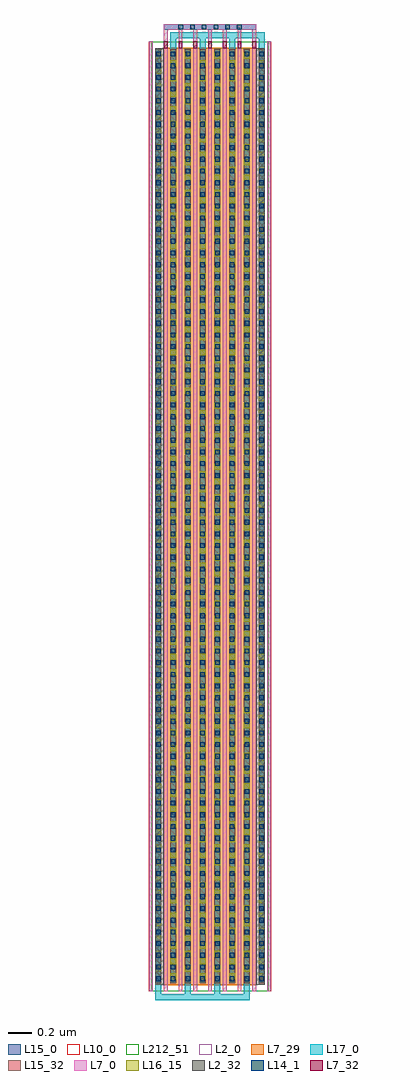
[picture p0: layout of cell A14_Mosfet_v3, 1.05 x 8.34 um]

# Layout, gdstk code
import gdstk
lib = gdstk.Library(unit=1e-6, precision=1e-09)
def R(c, l, rs):  # rectangles x0, y0, x1, y1
    for r in rs: c.add(gdstk.rectangle(r[:2], r[2:], *l))
def A(c, l, x, y, w, h, nx, ny, dx, dy):  # array of equal rectangles
    R(c, l, [(x+i*dx, y+j*dy, x+i*dx+w, y+j*dy+h) for i in range(nx) for j in range(ny)])
L2_0 = (2, 0)
L2_32 = (2, 32)
L7_0 = (7, 0)
L7_29 = (7, 29)
L7_32 = (7, 32)
L10_0 = (10, 0)
L14_1 = (14, 1)
L15_0 = (15, 0)
L15_32 = (15, 32)
L16_15 = (16, 15)
L17_0 = (17, 0)
L212_51 = (212, 51)

a14_mosfet_v3_srf_source = lib.new_cell('A14_Mosfet_v3:SRF_Source_ViaM1M2:SRF_ViaM1M2')
R(a14_mosfet_v3_srf_source, L15_0, [(0,-7.832,0.05,0.082)])
A(a14_mosfet_v3_srf_source, L16_15, 0, -7.8, 0.05, 0.05, 1, 61, 0, 0.13)
R(a14_mosfet_v3_srf_source, L17_0, [(0,-7.832,0.05,0.082)])

c_a14_mosfet_v3_srf_source = lib.new_cell('A14_Mosfet_v3:SRF_Source_ViaM1M2')
c_a14_mosfet_v3_srf_source.add(gdstk.Reference(a14_mosfet_v3_srf_source, (-0.025,3.875)))

a14_mosfet_v3_srf_drain_ = lib.new_cell('A14_Mosfet_v3:SRF_Drain_ViaM1M2:SRF_ViaM1M2')
R(a14_mosfet_v3_srf_drain_, L15_0, [(0,-7.832,0.05,0.082)])
A(a14_mosfet_v3_srf_drain_, L16_15, 0, -7.8, 0.05, 0.05, 1, 61, 0, 0.13)
R(a14_mosfet_v3_srf_drain_, L17_0, [(0,-7.832,0.05,0.082)])

c_a14_mosfet_v3_srf_drain_ = lib.new_cell('A14_Mosfet_v3:SRF_Drain_ViaM1M2')
c_a14_mosfet_v3_srf_drain_.add(gdstk.Reference(a14_mosfet_v3_srf_drain_, (-0.025,3.875)))

a14_mosfet_v3_srf_gate_v = lib.new_cell('A14_Mosfet_v3:SRF_Gate_ViaM0Mx:SRF_ViaM0M1')
R(a14_mosfet_v3_srf_gate_v, L7_0, [(-0.01,-0.004,0.55,0.044)])
A(a14_mosfet_v3_srf_gate_v, L14_1, 0, 0, 0.04, 0.04, 6, 1, 0.1, 0)
R(a14_mosfet_v3_srf_gate_v, L15_0, [(-0.021,-0.005,0.561,0.045)])

c_a14_mosfet_v3_srf_gate_v = lib.new_cell('A14_Mosfet_v3:SRF_Gate_ViaM0Mx')
c_a14_mosfet_v3_srf_gate_v.add(gdstk.Reference(a14_mosfet_v3_srf_gate_v, (-0.27,-0.02)))

a14_mosfet_v3 = lib.new_cell('A14_Mosfet_v3')
R(a14_mosfet_v3, L2_0, [(-0.076,0.057,0.862,8.057)])
R(a14_mosfet_v3, L2_32, [(-0.076,0.057,0,8.057), (0.786,0.057,0.862,8.057)])
A(a14_mosfet_v3, L7_0, -0.126, 0, 0.03, 8.114, 9, 1, 0.126, 0)
A(a14_mosfet_v3, L7_0, 0, 8.114, 0.03, 0.1, 7, 1, 0.126, 0)
R(a14_mosfet_v3, L7_0, [(0,8.214,0.786,8.262)])
R(a14_mosfet_v3, L7_29, [(-0.005,0.052,0.791,8.062)])
A(a14_mosfet_v3, L7_32, 0, 8.057, 0.03, 0.057, 7, 1, 0.126, 0)
R(a14_mosfet_v3, L10_0, [(-0.132,0.001,0.918,8.113)])
A(a14_mosfet_v3, L14_1, -0.068, 0.087, 0.04, 0.04, 8, 80, 0.126, 0.1)
R(a14_mosfet_v3, L15_0, [(-0.073,0.066,-0.023,8.048), (-0.073,0.066,-0.023,8.048), (0.053,0.066,0.103,8.048), (0.053,0.066,0.103,8.048), (0.179,0.066,0.229,8.048), (0.179,0.066,0.229,8.048), (0.305,0.066,0.355,8.048), (0.305,0.066,0.355,8.048), (0.431,0.066,0.481,8.048), (0.431,0.066,0.481,8.048), (0.557,0.066,0.607,8.048), (0.557,0.066,0.607,8.048), (0.683,0.066,0.733,8.048), (0.683,0.066,0.733,8.048), (0.809,0.066,0.859,8.048), (0.809,0.066,0.859,8.048), (0,8.213,0.786,8.263)])
A(a14_mosfet_v3, L15_32, -0.073, 0.066, 0.05, 7.982, 8, 1, 0.126, 0)
A(a14_mosfet_v3, L17_0, -0.073, -0.025, 0.05, 8.073, 4, 1, 0.252, 0)
A(a14_mosfet_v3, L17_0, 0.053, 7.984, 0.05, 0.159, 4, 1, 0.252, 0)
R(a14_mosfet_v3, L17_0, [(-0.073,-0.075,0.733,-0.025), (0.053,8.143,0.859,8.193)])
R(a14_mosfet_v3, L212_51, [(-0.111,0.001,0.897,8.113)])
a14_mosfet_v3.add(gdstk.Reference(c_a14_mosfet_v3_srf_source, (-0.048,4.091)))
a14_mosfet_v3.add(gdstk.Reference(c_a14_mosfet_v3_srf_source, (0.204,4.091)))
a14_mosfet_v3.add(gdstk.Reference(c_a14_mosfet_v3_srf_source, (0.456,4.091)))
a14_mosfet_v3.add(gdstk.Reference(c_a14_mosfet_v3_srf_source, (0.708,4.091)))
a14_mosfet_v3.add(gdstk.Reference(c_a14_mosfet_v3_srf_drain_, (0.078,4.027)))
a14_mosfet_v3.add(gdstk.Reference(c_a14_mosfet_v3_srf_drain_, (0.33,4.027)))
a14_mosfet_v3.add(gdstk.Reference(c_a14_mosfet_v3_srf_drain_, (0.582,4.027)))
a14_mosfet_v3.add(gdstk.Reference(c_a14_mosfet_v3_srf_drain_, (0.834,4.027)))
a14_mosfet_v3.add(gdstk.Reference(c_a14_mosfet_v3_srf_gate_v, (0.393,8.238)))

lib.write_gds('A14_Mosfet_v3.gds')
